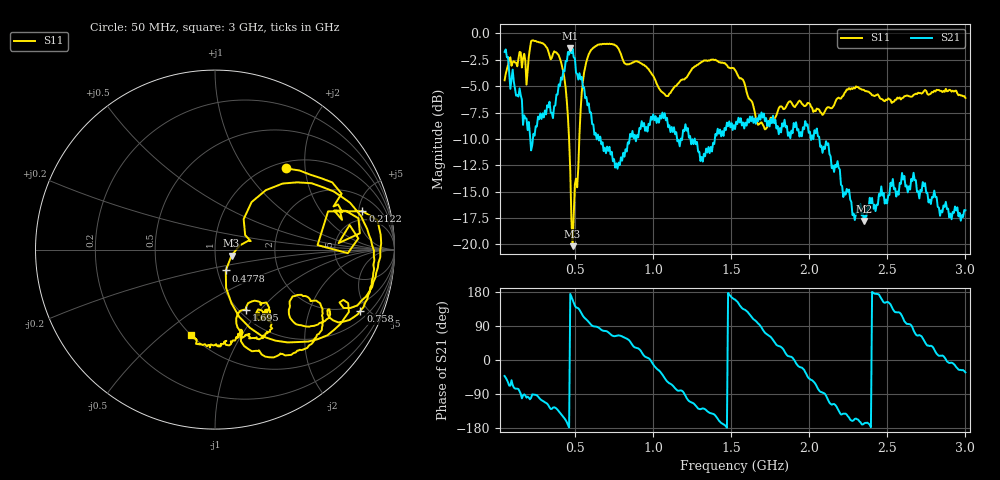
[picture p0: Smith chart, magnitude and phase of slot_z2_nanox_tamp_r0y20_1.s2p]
! nanovna_capture.py 2026-10-26T21:37:12+0900
! NanoVNA-F_V2 fw 0.6.0 SN 4A3639384505514B
! cal: load open short thru cal'ed  over 50000000-3000000000 Hz, 201 points
! points 401, avg 4
! slot line z=1.6, tampered Nano X, 0 deg, moved 20 mm along the slot toward PORT 2
# HZ S RI R 50
! S12 and S22 are not measured (written as 0)
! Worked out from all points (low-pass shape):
!   401 points, 50 MHz to 3 GHz, reference 50 ohm
!   highest |S21| = -1.38 dB at 470.4 MHz (marker M1); lowest = -17.8 dB at 2.351 GHz (marker M2)
!   |S21| within 3 dB of the highest: start of sweep to 82.58 MHz; 409.6 MHz to 546 MHz (136.5 MHz wide, 28.6 % of centre) (the widest 2 of 3)
!   lowest |S11| = -20.2 dB at 485.1 MHz (marker M3), VSWR 1.22, Z = 60 - j4.05 ohm
!   |S11| at or under -10 dB: 462.8 MHz to 528.3 MHz (65.47 MHz wide, 13.2 % of centre)
!   S12 and S22 are empty: the file has one direction only
!   S11 on the Smith chart (normalised r, x): 50 MHz: 1.12, +1.58; 212.2 MHz: 3.60, +5.52; 477.8 MHz: 1.10, -0.26; 758 MHz: 1.50, -4.48; 1.695 GHz: 1.08, -0.85; 3 GHz: 0.50, -0.63
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5e7  0.3937 0.4525  0.6052 -0.5502  0 0  0 0
1.75375e8  0.7985 0.0621  -0.00375 -0.4087  0 0  0 0
2.1225e8  0.8217 0.2138  -0.0786 -0.3214  0 0  0 0
2.86e8  0.8823 -0.181  -0.1084 -0.3778  0 0  0 0
4.11375e8  0.5216 -0.5121  -0.4929 -0.3735  0 0  0 0
4.70375e8  0.0619 -0.2137  -0.8495 0.0826  0 0  0 0
4.7775e8  0.0601 -0.1161  -0.7864 0.18  0 0  0 0
4.85125e8  0.0922 -0.0334  -0.7933 0.2999  0 0  0 0
5.44125e8  0.3767 0.368  -0.3258 0.5305  0 0  0 0
6.17875e8  0.848 0.1146  0.00659 0.3701  0 0  0 0
7.58e8  0.8099 -0.3405  0.1047 0.2062  0 0  0 0
9.12875e8  0.6121 -0.3982  0.3134 0.1681  0 0  0 0
1.03825e9  0.4127 -0.3627  0.3348 -0.1748  0 0  0 0
1.207875e9  0.5436 -0.2853  -0.0277 -0.3702  0 0  0 0
1.525e9  0.3012 -0.5997  -0.3299 0.1233  0 0  0 0
1.694625e9  0.1754 -0.3359  0.0281 0.4213  0 0  0 0
1.842125e9  0.2829 -0.3356  0.3606 0.1486  0 0  0 0
2.019125e9  0.231 -0.378  0.1957 -0.2645  0 0  0 0
2.137125e9  0.2683 -0.3519  -0.1138 -0.2355  0 0  0 0
2.351e9  0.2194 -0.4925  -0.1259 -0.0277  0 0  0 0
2.51325e9  0.1372 -0.4673  -0.1482 0.0864  0 0  0 0
3e9  -0.1337 -0.4765  0.1221 -0.0783  0 0  0 0
